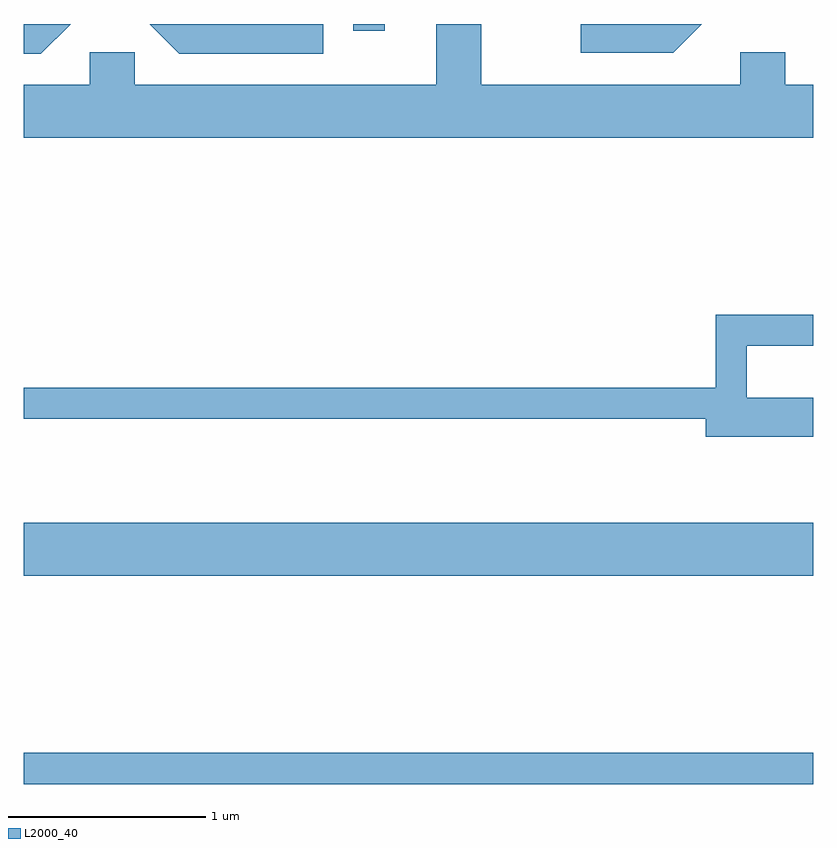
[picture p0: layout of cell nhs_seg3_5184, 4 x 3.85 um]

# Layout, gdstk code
import gdstk
lib = gdstk.Library(unit=1e-6, precision=1e-09)
def R(c, l, rs):  # rectangles x0, y0, x1, y1
    for r in rs: c.add(gdstk.rectangle(r[:2], r[2:], *l))
def P(c, l, *ps):  # polygons
    for p in ps: c.add(gdstk.Polygon(p, *l))
L2000_40 = (2000, 40)

nhs_seg3_5184 = lib.new_cell('nhs_seg3_5184')
R(nhs_seg3_5184, L2000_40, [(337.611,1156.041,341.611,1156.199), (337.611,1157.096,341.611,1157.364), (339.281,1159.858,339.439,1159.892)])
P(nhs_seg3_5184, L2000_40, [(341.611,1159.584),(341.469,1159.584),(341.469,1159.749),(341.241,1159.749),(341.241,1159.584),(339.929,1159.584),(339.929,1159.892),(339.701,1159.892),(339.701,1159.584),(338.174,1159.584),(338.174,1159.749),(337.946,1159.749),(337.946,1159.584),(337.611,1159.584),(337.611,1159.316),(341.611,1159.316)],
  [(341.047,1159.892),(340.433,1159.892),(340.433,1159.746),(340.902,1159.746)],
  [(337.848,1159.892),(337.611,1159.892),(337.611,1159.741),(337.697,1159.741)],
  [(339.129,1159.892),(338.248,1159.892),(338.399,1159.741),(339.129,1159.741)],
  [(341.611,1157.999),(341.274,1157.999),(341.274,1158.261),(341.611,1158.261),(341.611,1158.419),(341.116,1158.419),(341.116,1158.049),(337.611,1158.049),(337.611,1157.891),(341.066,1157.891),(341.066,1157.801),(341.611,1157.801)])

lib.write_gds('nhs_seg3_5184.gds')
